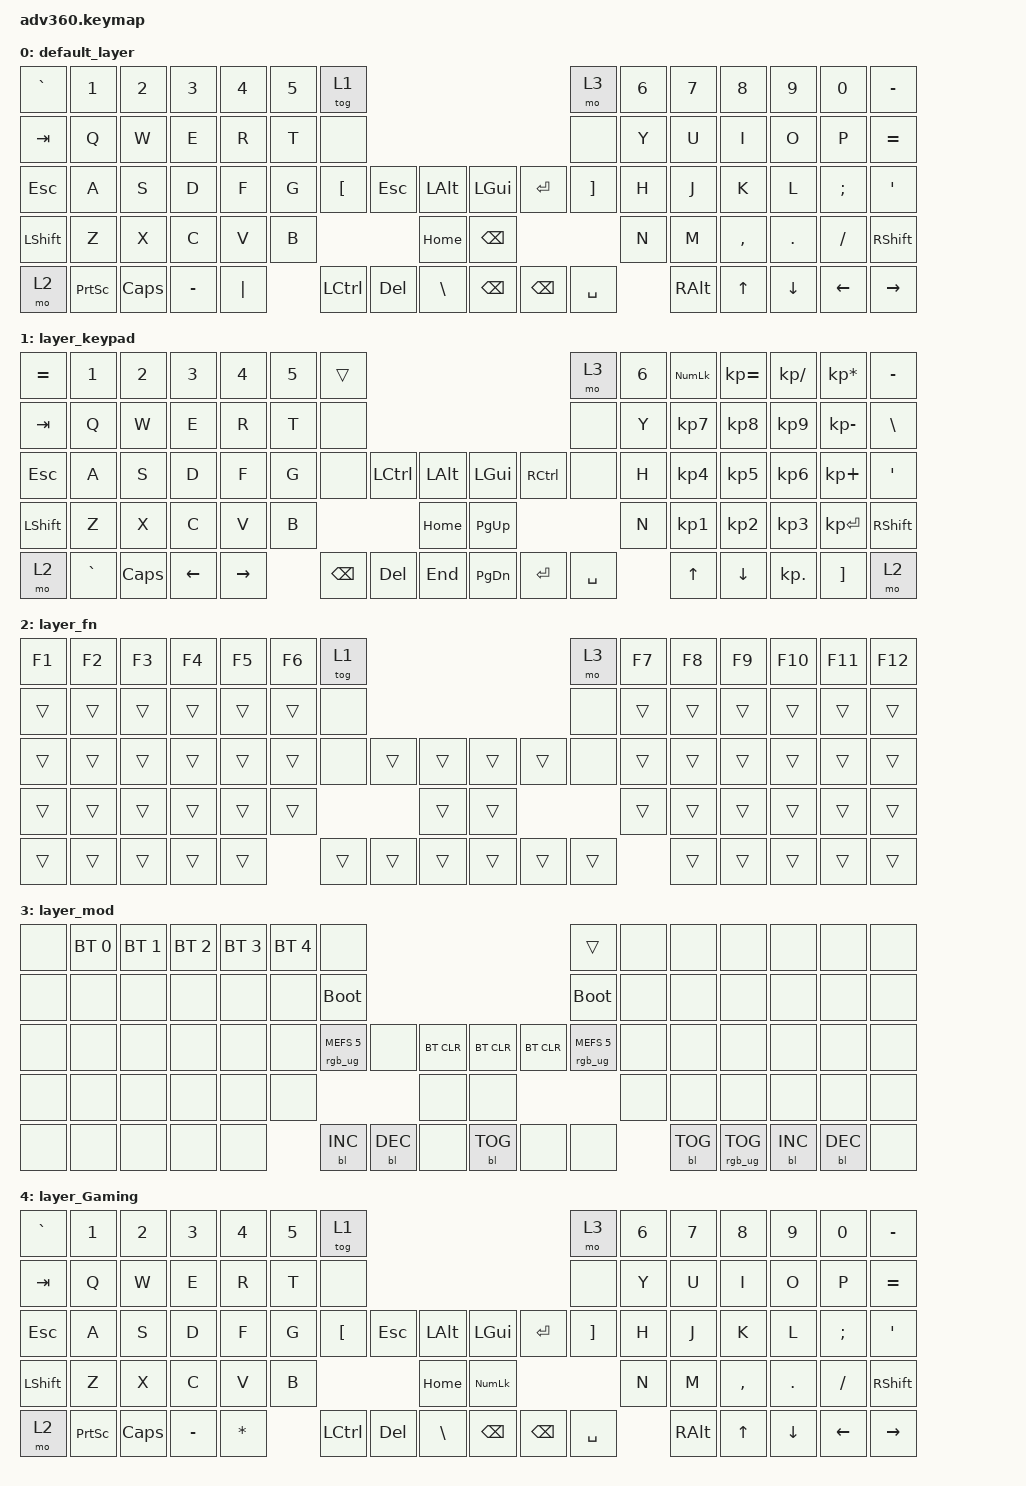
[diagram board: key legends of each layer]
/*
 * Copyright (c) 2020 The ZMK Contributors
 *
 * SPDX-License-Identifier: MIT
 */
/* THIS FILE WAS GENERATED!
 *
 * This file was generated automatically. You may or may not want to
 * edit it directly.
 */

#include <behaviors.dtsi>
#include <dt-bindings/zmk/backlight.h>
#include <dt-bindings/zmk/bt.h>
#include <dt-bindings/zmk/keys.h>
#include <dt-bindings/zmk/rgb.h>

/ {
    behaviors {
        #include "macros.dtsi"
    #include "version.dtsi"

        hm: homerow_mods {
            compatible = "zmk,behavior-hold-tap";
            label = "HOMEROW_MODS";
            #binding-cells = <2>;
            tapping-term-ms = <200>;
            quick_tap_ms = <175>;
            flavor = "tap-preferred";
            bindings = <&kp>, <&kp>;
        };
    };

    keymap {
        compatible = "zmk,keymap";

        default_layer {
            bindings = <
&kp GRAVE  &kp N1           &kp N2    &kp N3     &kp N4    &kp N5  &tog 1                                                                      &mo 3              &kp N6  &kp N7         &kp N8        &kp N9          &kp N0          &kp MINUS
&kp TAB    &kp Q            &kp W     &kp E      &kp R     &kp T   &none                                                                       &none              &kp Y   &kp U          &kp I         &kp O           &kp P           &kp EQUAL
&kp ESC    &kp A            &kp S     &kp D      &kp F     &kp G   &kp LEFT_BRACKET  &kp ESC  &kp LALT           &kp LGUI       &kp ENTER      &kp RIGHT_BRACKET  &kp H   &kp J          &kp K         &kp L           &kp SEMI        &kp SQT
&kp LSHFT  &kp Z            &kp X     &kp C      &kp V     &kp B                              &kp HOME           &kp BACKSPACE                                    &kp N   &kp M          &kp COMMA     &kp DOT         &kp FSLH        &kp RSHFT
&mo 2      &kp PRINTSCREEN  &kp CAPS  &kp MINUS  &kp PIPE          &kp LCTRL         &kp DEL  &kp BACKSLASH      &kp BACKSPACE  &kp BACKSPACE  &kp SPACE                  &kp RIGHT_ALT  &kp UP_ARROW  &kp DOWN_ARROW  &kp LEFT_ARROW  &kp RIGHT_ARROW
            >;
        };

        layer_keypad {
            bindings = <
&kp EQUAL  &kp N1     &kp N2    &kp N3    &kp N4     &kp N5  &trans                                                   &mo 3      &kp N6  &kp KP_NUM  &kp KP_EQUAL  &kp KP_DIVIDE  &kp KP_MULTIPLY  &kp MINUS
&kp TAB    &kp Q      &kp W     &kp E     &kp R      &kp T   &none                                                    &none      &kp Y   &kp KP_N7   &kp KP_N8     &kp KP_N9      &kp KP_MINUS     &kp BSLH
&kp ESC    &kp A      &kp S     &kp D     &kp F      &kp G   &none     &kp LCTRL  &kp LALT      &kp LGUI   &kp RCTRL  &none      &kp H   &kp KP_N4   &kp KP_N5     &kp KP_N6      &kp KP_PLUS      &kp SQT
&kp LSHFT  &kp Z      &kp X     &kp C     &kp V      &kp B                        &kp HOME      &kp PG_UP                        &kp N   &kp KP_N1   &kp KP_N2     &kp KP_N3      &kp KP_ENTER     &kp RSHFT
&mo 2      &kp GRAVE  &kp CAPS  &kp LEFT  &kp RIGHT          &kp BSPC  &kp DEL    &kp END       &kp PG_DN  &kp ENTER  &kp SPACE          &kp UP      &kp DOWN      &kp KP_DOT     &kp RBKT         &mo 2
            >;
        };

        layer_fn {
            bindings = <
&kp F1  &kp F2  &kp F3  &kp F4  &kp F5  &kp F6  &tog 1                                      &mo 3   &kp F7  &kp F8  &kp F9  &kp F10  &kp F11  &kp F12
&trans  &trans  &trans  &trans  &trans  &trans  &none                                       &none   &trans  &trans  &trans  &trans   &trans   &trans
&trans  &trans  &trans  &trans  &trans  &trans  &none   &trans  &trans      &trans  &trans  &none   &trans  &trans  &trans  &trans   &trans   &trans
&trans  &trans  &trans  &trans  &trans  &trans                  &trans      &trans                  &trans  &trans  &trans  &trans   &trans   &trans
&trans  &trans  &trans  &trans  &trans          &trans  &trans  &trans      &trans  &trans  &trans          &trans  &trans  &trans   &trans   &trans
            >;
        };

        layer_mod {
            bindings = <
&none  &bt BT_SEL 0  &bt BT_SEL 1  &bt BT_SEL 2  &bt BT_SEL 3  &bt BT_SEL 4  &none                                                                       &trans                  &none  &none       &none            &none       &none       &none
&none  &none         &none         &none         &none         &none         &bootloader                                                                 &bootloader             &none  &none       &none            &none       &none       &none
&none  &none         &none         &none         &none         &none         &rgb_ug RGB_MEFS_CMD 5  &none       &bt BT_CLR      &bt BT_CLR  &bt BT_CLR  &rgb_ug RGB_MEFS_CMD 5  &none  &none       &none            &none       &none       &none
&none  &none         &none         &none         &none         &none                                             &none           &none                                           &none  &none       &none            &none       &none       &none
&none  &none         &none         &none         &none                       &bl BL_INC              &bl BL_DEC  &none           &bl BL_TOG  &none       &none                          &bl BL_TOG  &rgb_ug RGB_TOG  &bl BL_INC  &bl BL_DEC  &none
            >;
        };

        layer_Gaming {
            bindings = <
&kp GRAVE  &kp N1           &kp N2    &kp N3     &kp N4        &kp N5  &tog 1                                                                       &mo 3              &kp N6  &kp N7         &kp N8        &kp N9          &kp N0          &kp MINUS
&kp TAB    &kp Q            &kp W     &kp E      &kp R         &kp T   &none                                                                        &none              &kp Y   &kp U          &kp I         &kp O           &kp P           &kp EQUAL
&kp ESC    &kp A            &kp S     &kp D      &kp F         &kp G   &kp LEFT_BRACKET  &kp ESC  &kp LALT           &kp LGUI        &kp ENTER      &kp RIGHT_BRACKET  &kp H   &kp J          &kp K         &kp L           &kp SEMI        &kp SQT
&kp LSHFT  &kp Z            &kp X     &kp C      &kp V         &kp B                              &kp HOME           &kp KP_NUMLOCK                                    &kp N   &kp M          &kp COMMA     &kp DOT         &kp FSLH        &kp RSHFT
&mo 2      &kp PRINTSCREEN  &kp CAPS  &kp MINUS  &kp ASTERISK          &kp LCTRL         &kp DEL  &kp BACKSLASH      &kp BACKSPACE   &kp BACKSPACE  &kp SPACE                  &kp RIGHT_ALT  &kp UP_ARROW  &kp DOWN_ARROW  &kp LEFT_ARROW  &kp RIGHT_ARROW
            >;
        };
    };
};
